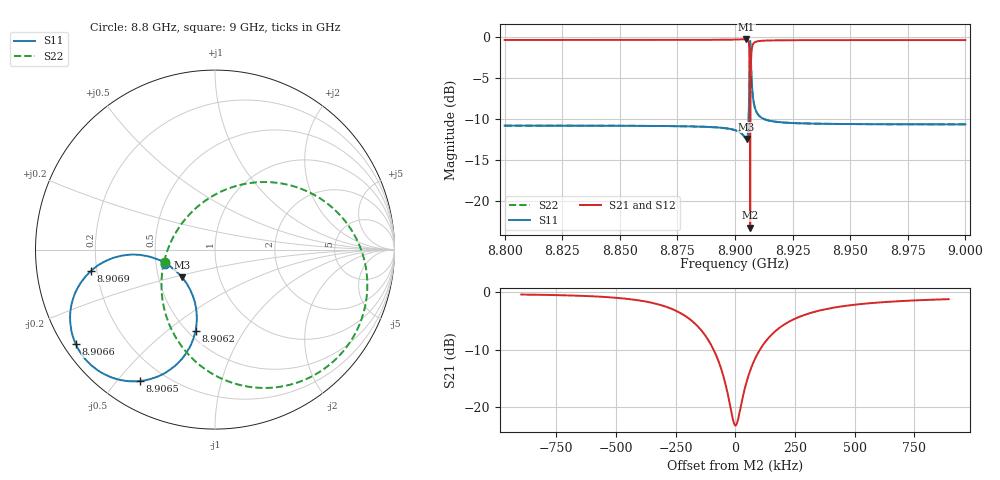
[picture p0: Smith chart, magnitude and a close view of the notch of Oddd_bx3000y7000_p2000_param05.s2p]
! Sonnet Data File
! From: emgraph Version : 16.52
! From Project: Resonator2
! Data is De-embedded
! Data File Written: 10/05/2017 10:46:05
!< HDATE 10/04/2017 20:26:48
!< MDATE 10/05/2017 00:36:07
!< PARAMS
!< gap = 36.0
!< Length = 400.0
!< Pwid1 = 2000.0
!< Pwid2 = 2000.0
!< END PARAMS
# GHZ S MA R 50.00000
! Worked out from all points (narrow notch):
!   1595 points, 8.8 GHz to 9 GHz, reference 50 ohm
!   highest |S21| = -0.27 dB at 8.9048 GHz (marker M1); lowest = -23.2 dB at 8.9066 GHz (marker M2)
!   notch at M2: 22.8 dB deep, 153 kHz wide at half that depth
!   lowest |S11| = -12.4 dB at 8.905 GHz (marker M3), VSWR 1.63, Z = 33.1 - j10.9 ohm
!   |S11| at or under -10 dB: start of sweep to 8.9059 GHz; 8.9127 GHz to end of sweep
!   |S22| runs from -12.6 to -0.8 dB; largest |S21 - S12| = 0
!   S11 on the Smith chart (normalised r, x): 8.8 GHz: 0.56, -0.09; 8.9062 GHz: 0.55, -0.63; 8.9065 GHz: 0.11, -0.58; 8.9066 GHz: 0.04, -0.31; 8.9069 GHz: 0.18, -0.08; 9 GHz: 0.55, -0.08
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8.8  0.289 -164.4  0.9573 -75.3  0.9573 -75.3  0.289 -166.2
!< P1 F=8.8 Eeff=(5.36817953 -2.3731e-5) Z0=(35.9853883 8.0522e-5) R=0.0 C=0.0
!< P2 F=8.8 Eeff=(5.36817953 -2.3731e-5) Z0=(35.9853883 8.0522e-5) R=0.0 C=0.0
8.8334  0.2887 -164.6  0.9574 -75.7  0.9574 -75.7  0.2887 -166.8
8.8668  0.2875 -164.6  0.9578 -76.1  0.9578 -76.1  0.2875 -167.7
8.9  0.2713 -160.9  0.9624 -78.3  0.9624 -78.3  0.2711 -175.6
8.904845  0.2405 -143.2  0.9692 -84.8  0.9692 -84.8  0.2369 153.8
8.905033  0.2398 -139.8  0.969 -85.8  0.969 -85.8  0.2353 148.2
8.905786  0.2865 -115.4  0.9515 -94.9  0.9515 -94.9  0.2726 103.7
8.90616  0.4652 -103.5  0.8645 -109.6  0.8645 -109.6  0.4402 58.4
8.90633  0.6624 -108.0  0.7038 -124.4  0.7038 -124.4  0.6306 29.0
8.906453  0.843 -119.7  0.4417 -139.8  0.4417 -139.8  0.8073 1.3
8.906519  0.9161 -129.0  0.2404 -144.7  0.2404 -144.7  0.8803 -15.7
8.906586  0.9456 -139.1  0.06932 -86.8  0.06932 -86.8  0.9116 -32.9
8.906634  0.9375 -145.9  0.1666 -28.0  0.1666 -28.0  0.9058 -44.5
8.906681  0.911 -152.0  0.2953 -24.9  0.2953 -24.9  0.8821 -54.9
8.906741  0.8624 -158.4  0.4333 -29.2  0.4333 -29.2  0.8371 -66.5
8.906932  0.7007 -170.3  0.6884 -43.9  0.6884 -43.9  0.6848 -92.3
8.907263  0.5361 -176.0  0.8361 -56.6  0.8361 -56.6  0.5282 -115.2
8.908018  0.408 -175.6  0.911 -66.2  0.911 -66.2  0.4052 -136.2
8.91041  0.3323 -171.2  0.9429 -72.3  0.9429 -72.3  0.3318 -153.3
8.9334  0.2972 -166.7  0.9548 -75.8  0.9548 -75.8  0.2971 -164.8
8.9668  0.2945 -166.5  0.9557 -76.3  0.9557 -76.3  0.2945 -166.2
9  0.294 -166.6  0.9558 -76.7  0.9558 -76.7  0.294 -166.8
